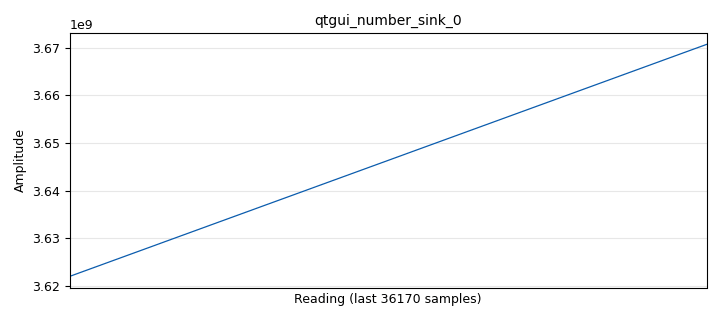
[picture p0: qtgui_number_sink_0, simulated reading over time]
options:
  parameters:
    author: thomas@habets.se
    generate_options: qt_gui
    id: broadband_scan
    output_language: python
    title: Broadband scan
  states: {}

blocks:
- name: fft_size
  id: variable
  parameters:
    value: '1024'
  states: {}
- name: freq_end
  id: variable
  parameters:
    value: 6e9
  states: {}
- name: freq_start
  id: variable
  parameters:
    value: 800e6
  states: {}
- name: igain
  id: variable_qtgui_range
  parameters:
    orient: Qt.Horizontal
    start: '0'
    step: '0.01'
    stop: '1'
    value: '0.5'
  states: {}
- name: modulated_freq
  id: variable_function_probe
  parameters:
    block_id: blocks_probe_signal_x_0
    function_name: level
    poll_rate: '93'
    value: '0'
  states: {}
- name: samp_rate
  id: variable
  parameters:
    value: '8000000'
  states: {}
- name: scan_samp_rate
  id: variable
  parameters:
    value: '32000'
  states: {}
- name: sweep_freq
  id: variable
  parameters:
    value: 1/120.0
  states: {}
- name: analog_sig_source_x_0
  id: analog_sig_source_x
  parameters:
    amp: '1'
    freq: sweep_freq
    offset: '0'
    phase: '0'
    samp_rate: scan_samp_rate
    type: float
    waveform: analog.GR_SAW_WAVE
  states: {}
- name: blocks_add_const_vxx_0
  id: blocks_add_const_vxx
  parameters:
    const: freq_start
    type: float
  states: {}
- name: blocks_complex_to_mag_0
  id: blocks_complex_to_mag
  parameters:
    vlen: fft_size
  states: {}
- name: blocks_file_sink_0
  id: blocks_file_sink
  parameters:
    file: broadscan.csv
    type: byte
    unbuffered: 'True'
  states: {}
- name: blocks_multiply_const_vxx_0
  id: blocks_multiply_const_vxx
  parameters:
    const: freq_end-freq_start
    type: float
  states: {}
- name: blocks_probe_signal_x_0
  id: blocks_probe_signal_x
  parameters:
    type: float
  states: {}
- name: blocks_stream_to_vector_0
  id: blocks_stream_to_vector
  parameters:
    num_items: fft_size
    type: complex
  states: {}
- name: blocks_throttle_0
  id: blocks_throttle
  parameters:
    samples_per_second: scan_samp_rate
    type: float
  states: {}
- name: fft_vxx_0
  id: fft_vxx
  parameters:
    fft_size: '1024'
    forward: 'True'
    shift: 'True'
    type: complex
    window: window.blackmanharris(1024)
  states: {}
- name: habets39_sweepsinkv_0
  id: habets39_sweepsinkv
  parameters:
    tag: rx_freq
    vlen: fft_size
  states: {}
- name: qtgui_number_sink_0
  id: qtgui_number_sink
  parameters:
    graph_type: qtgui.NUM_GRAPH_HORIZ
    max: freq_end/1e3
    min: freq_start/1e3
    type: float
  states: {}
- name: uhd_usrp_source_0
  id: uhd_usrp_source
  parameters:
    ant0: RX2
    center_freq0: modulated_freq
    dc_offs_enb0: '""'
    dev_args: '""'
    gain0: igain
    iq_imbal_enb0: '""'
    norm_gain0: 'True'
    samp_rate: samp_rate
    sync: sync
    type: fc32
  states: {}

connections:
- [analog_sig_source_x_0, '0', blocks_multiply_const_vxx_0, '0']
- [blocks_add_const_vxx_0, '0', blocks_throttle_0, '0']
- [blocks_complex_to_mag_0, '0', habets39_sweepsinkv_0, '0']
- [blocks_multiply_const_vxx_0, '0', blocks_add_const_vxx_0, '0']
- [blocks_stream_to_vector_0, '0', fft_vxx_0, '0']
- [blocks_throttle_0, '0', blocks_probe_signal_x_0, '0']
- [blocks_throttle_0, '0', qtgui_number_sink_0, '0']
- [fft_vxx_0, '0', blocks_complex_to_mag_0, '0']
- [habets39_sweepsinkv_0, '0', blocks_file_sink_0, '0']
- [uhd_usrp_source_0, '0', blocks_stream_to_vector_0, '0']

metadata:
  file_format: 1
